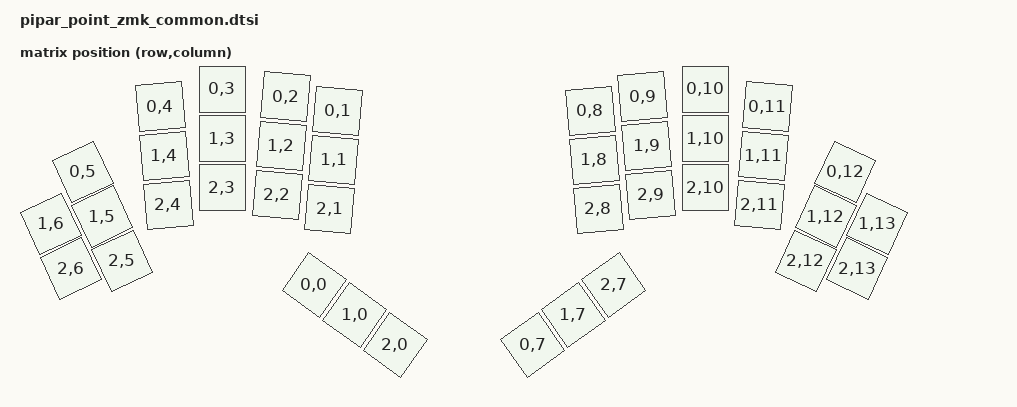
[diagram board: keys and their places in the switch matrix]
#include <dt-bindings/zmk/matrix_transform.h>
#include <physical_layouts.dtsi>

/ {
  chosen {
    zmk,backlight = &backlight;
    zmk,physical-layout = &physical_layout0;
    zmk,kscan = &pipar_matrix;
  };

  
  matrix_transform0: keymap_transform_0 {
    compatible = "zmk,matrix-transform";
    columns = <14>;
    rows = <3>;
    map = <
             RC(0,5)  RC(0,4)  RC(0,3)  RC(0,2)  RC(0,1)    RC(0,8)  RC(0,9)   RC(0,10)  RC(0,11)  RC(0,12)
    RC(1,6)  RC(1,5)  RC(1,4)  RC(1,3)  RC(1,2)  RC(1,1)    RC(1,8)  RC(1,9)   RC(1,10)  RC(1,11)  RC(1,12)  RC(1,13)
    RC(2,6)  RC(2,5)  RC(2,4)  RC(2,3)  RC(2,2)  RC(2,1)    RC(2,8)  RC(2,9)   RC(2,10)  RC(2,11)  RC(2,12)  RC(2,13)
                               RC(0,0)  RC(1,0)  RC(2,0)    RC(0,7)  RC(1,7)   RC(2,7)
    >;
  };

  physical_layout0: physical_layout_0 {
    compatible = "zmk,physical-layout";
    display-name = "pipar_point-layout";
    transform = <&matrix_transform0>;

    keys  //                   w   h    x    y     rot    rx    ry
      = <&key_physical_attrs 100 100   61  166 (-2500)   111   216>
      , <&key_physical_attrs 100 100  216   35  (-500)   266    85>
      , <&key_physical_attrs 100 100  340    0       0     0     0>
      , <&key_physical_attrs 100 100  467   15     500   517    65>
      , <&key_physical_attrs 100 100  571   44     500   621    94>
      , <&key_physical_attrs 100 100 1076   44  (-500)  1126    94>
      , <&key_physical_attrs 100 100 1181   15  (-500)  1231    65>
      , <&key_physical_attrs 100 100 1307    0       0     0     0>
      , <&key_physical_attrs 100 100 1431   35     500  1481    85>
      , <&key_physical_attrs 100 100 1586  166    2500  1636   216>
      , <&key_physical_attrs 100 100    0  225 (-2500)   150   305>
      , <&key_physical_attrs 100 100  100  255 (-2500)   150   305>
      , <&key_physical_attrs 100 100  224  134  (-500)   274   184>
      , <&key_physical_attrs 100 100  340   99       0     0     0>
      , <&key_physical_attrs 100 100  458  114     500   508   164>
      , <&key_physical_attrs 100 100  563  142     500   613   192>
      , <&key_physical_attrs 100 100 1084  142  (-500)  1134   192>
      , <&key_physical_attrs 100 100 1189  114  (-500)  1239   164>
      , <&key_physical_attrs 100 100 1307   99       0     0     0>
      , <&key_physical_attrs 100 100 1423  134     500  1473   184>
      , <&key_physical_attrs 100 100 1547  255    2500  1597   305>
      , <&key_physical_attrs 100 100 1647  225    2500  1597   305>
      , <&key_physical_attrs 100 100   40  314 (-2500)   190   394>
      , <&key_physical_attrs 100 100  140  344 (-2500)   190   394>
      , <&key_physical_attrs 100 100  232  232  (-500)   282   282>
      , <&key_physical_attrs 100 100  340  197       0     0     0>
      , <&key_physical_attrs 100 100  450  212     500   500   262>
      , <&key_physical_attrs 100 100  555  240     500   605   290>
      , <&key_physical_attrs 100 100 1092  240  (-500)  1142   290>
      , <&key_physical_attrs 100 100 1197  212  (-500)  1247   262>
      , <&key_physical_attrs 100 100 1307  197       0     0     0>
      , <&key_physical_attrs 100 100 1415  232     500  1465   282>
      , <&key_physical_attrs 100 100 1507  344    2500  1557   394>
      , <&key_physical_attrs 100 100 1607  314    2500  1557   394>
      , <&key_physical_attrs 100 100  524  392    3500   574   442>
      , <&key_physical_attrs 100 100  605  452    3500   655   502>
      , <&key_physical_attrs 100 100  686  512    3500   736   562>
      , <&key_physical_attrs 100 100  961  512 (-3500)  1011   562>
      , <&key_physical_attrs 100 100 1042  452 (-3500)  1092   502>
      , <&key_physical_attrs 100 100 1123  392 (-3500)  1173   442>
      ;
  };

};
